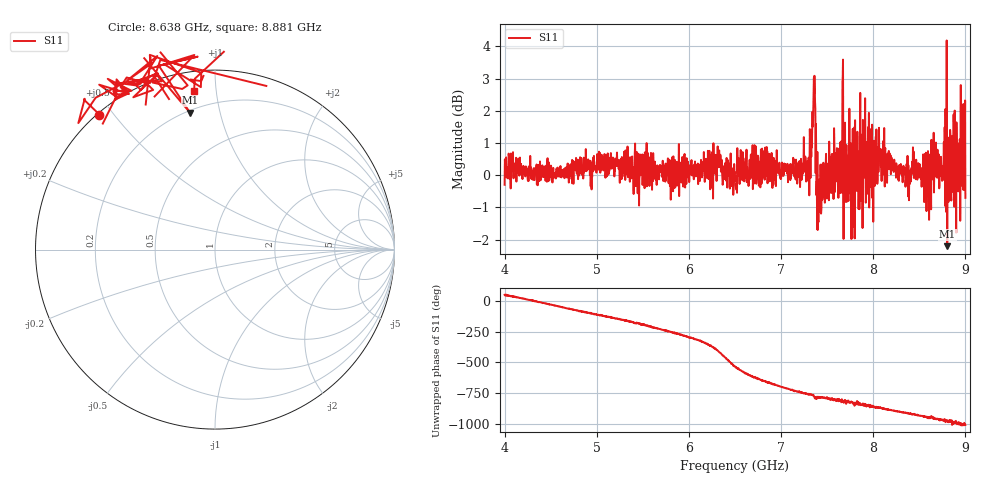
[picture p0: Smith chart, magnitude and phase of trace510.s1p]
! Created with skrf 1.8.0 (http://scikit-rf.org).
# Hz S RI R 50.0
!freq ReS11 ImS11
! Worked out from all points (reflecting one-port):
!   1601 points, 4 GHz to 9 GHz, reference 50 ohm
!   lowest |S11| = -2.2 dB at 8.803 GHz (marker M1), VSWR 7.92, Z = 10.6 + j40.6 ohm
!   phase of S11 starts at 48 deg and turns -1055 deg over the sweep
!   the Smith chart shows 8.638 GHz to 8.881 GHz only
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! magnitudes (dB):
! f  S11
! 4 GHz  -0.3
! 4.066 GHz  -0.4
! 4.625 GHz  0.0
! 5.25 GHz  -0.2
! 5.875 GHz  0.3
! 6.331 GHz  0.3
! 6.5 GHz  -0.2
! 7.125 GHz  0.3
! 7.294 GHz  -0.2
! 7.347 GHz  1.7
! 7.369 GHz  2.3
! 7.4 GHz  -0.4
! 7.412 GHz  -0.1
! 7.481 GHz  0.0
! 7.638 GHz  0.1
! 7.669 GHz  3.1
! 7.7 GHz  -0.2
! 7.75 GHz  0.6
! 8.05 GHz  0.6
! 8.375 GHz  -0.1
! 8.603 GHz  -0.1
! 8.656 GHz  1.3
! 8.738 GHz  0.2
! 8.775 GHz  1.5
! 8.803 GHz  -2.2
! 8.869 GHz  -0.3
! 8.972 GHz  0.3
! 9 GHz  -0.7
